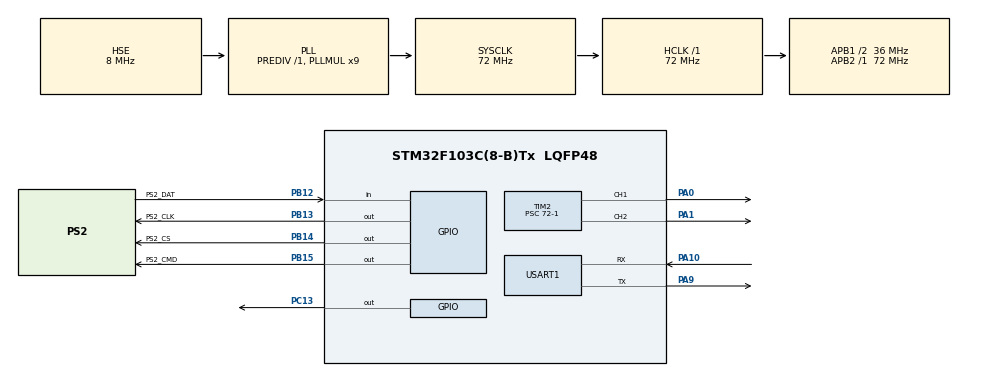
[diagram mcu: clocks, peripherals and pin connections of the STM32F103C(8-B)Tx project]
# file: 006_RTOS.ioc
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Mcu.Family=STM32F1
Mcu.Name=STM32F103C(8-B)Tx
Mcu.Package=LQFP48
NVIC.PriorityGroup=NVIC_PRIORITYGROUP_4
NVIC.USART1_IRQn=true\:0\:0\:false\:false\:true\:true\:true\:true
PA0-WKUP.Signal=S_TIM2_CH1_ETR
PA1.Signal=S_TIM2_CH2
PA10.Mode=Asynchronous
PA10.Signal=USART1_RX
PA13.Mode=Serial_Wire
PA13.Signal=SYS_JTMS-SWDIO
PA14.Mode=Serial_Wire
PA14.Signal=SYS_JTCK-SWCLK
PA9.Mode=Asynchronous
PA9.Signal=USART1_TX
PB12.GPIO_Label=PS2_DAT
PB12.Signal=GPIO_Input
PB13.GPIO_Label=PS2_CLK
PB13.Signal=GPIO_Output
PB14.GPIO_Label=PS2_CS
PB14.Signal=GPIO_Output
PB15.GPIO_Label=PS2_CMD
PB15.Signal=GPIO_Output
PC13-TAMPER-RTC.Signal=GPIO_Output
PD0-OSC_IN.Mode=HSE-External-Oscillator
PD0-OSC_IN.Signal=RCC_OSC_IN
PD1-OSC_OUT.Mode=HSE-External-Oscillator
PD1-OSC_OUT.Signal=RCC_OSC_OUT
ProjectManager.HeapSize=0x200
ProjectManager.StackSize=0x400
ProjectManager.TargetToolchain=MDK-ARM V5.32
RCC.AHBFreq_Value=72000000
RCC.APB1CLKDivider=RCC_HCLK_DIV2
RCC.APB1Freq_Value=36000000
RCC.APB1TimFreq_Value=72000000
RCC.APB2Freq_Value=72000000
RCC.APB2TimFreq_Value=72000000
RCC.HCLKFreq_Value=72000000
RCC.PLLMUL=RCC_PLL_MUL9
RCC.PLLSourceVirtual=RCC_PLLSOURCE_HSE
RCC.SYSCLKFreq_VALUE=72000000
RCC.SYSCLKSource=RCC_SYSCLKSOURCE_PLLCLK
RCC.USBFreq_Value=72000000
SH.S_TIM2_CH1_ETR.0=TIM2_CH1,PWM Generation1 CH1
SH.S_TIM2_CH2.0=TIM2_CH2,PWM Generation2 CH2
TIM2.Channel-PWM\ Generation1\ CH1=TIM_CHANNEL_1
TIM2.Channel-PWM\ Generation2\ CH2=TIM_CHANNEL_2
TIM2.Period=20000-1
TIM2.Prescaler=72-1
USART1.VirtualMode=VM_ASYNC
VP_TIM2_VS_ClockSourceINT.Mode=Internal
board=custom

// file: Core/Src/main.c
/* USER CODE BEGIN Header */
/**
  ******************************************************************************
  * @file           : main.c
  * @brief          : Main program body
  ******************************************************************************
  * @attention
  *
  * Copyright (c) 2023 STMicroelectronics.
  * All rights reserved.
  *
  * This software is licensed under terms that can be found in the LICENSE file
  * in the root directory of this software component.
  * If no LICENSE file comes with this software, it is provided AS-IS.
  *
  ******************************************************************************
  */
/* USER CODE END Header */
#include "main.h"
#include "tim.h"
#include "usart.h"
#include "gpio.h"

/* USER CODE BEGIN Includes */
#include <string.h>
#include <stdio.h>
#include <PS2.h>
/* USER CODE END Includes */

void SystemClock_Config(void);

/* USER CODE BEGIN 0 */
int fputc(int ch, FILE *f)

{
  HAL_UART_Transmit(&huart1, (uint8_t *)&ch, 1, 0xffff);
  return ch;
}

/* USER CODE END 0 */

int main(void)
{

  /* MCU Configuration--------------------------------------------------------*/

  /* Reset of all peripherals, Initializes the Flash interface and the Systick. */
  HAL_Init();

  /* Configure the system clock */
  SystemClock_Config();

  /* Initialize all configured peripherals */
  MX_GPIO_Init();
  MX_TIM2_Init();
  MX_USART1_UART_Init();
  /* USER CODE BEGIN 2 */
	PS2_Init();
	RC_ctrl_t ctrl;

	HAL_TIM_PWM_Start(&htim2, TIM_CHANNEL_1);
	HAL_TIM_PWM_Start(&htim2, TIM_CHANNEL_2);

	uint8_t cha[10]="nihao!\r\n";
	uint16_t count=0;
	TIM2->CCR1=1500;
	TIM2->CCR2=1500;
  /* USER CODE END 2 */

  /* Infinite loop */
  /* USER CODE BEGIN WHILE */
  while (1)
  {
		count++;
		uint32_t num=0;
		num=(ctrl.RC.PS2_RY*2+50);

		if(count%50==0)
		{
			printf("nihao  ");
			printf("%d\r\n",num);
		}

		if(count%(num/10)==0)
			HAL_GPIO_TogglePin(GPIOC,GPIO_PIN_13);

		if(count%5==0)
			PS2_Receive(&ctrl);

		TIM2->CCR1=1500+num*2;
		//HAL_UART_Transmit(&huart1, cha, 9, 0xff);
		HAL_Delay(10);
    /* USER CODE END WHILE */

  }
}

void SystemClock_Config(void)
{
  RCC_OscInitTypeDef RCC_OscInitStruct = {0};
  RCC_ClkInitTypeDef RCC_ClkInitStruct = {0};

  /** Initializes the RCC Oscillators according to the specified parameters
  * in the RCC_OscInitTypeDef structure.
  */
  RCC_OscInitStruct.OscillatorType = RCC_OSCILLATORTYPE_HSE;
  RCC_OscInitStruct.HSEState = RCC_HSE_ON;
  RCC_OscInitStruct.HSEPredivValue = RCC_HSE_PREDIV_DIV1;
  RCC_OscInitStruct.HSIState = RCC_HSI_ON;
  RCC_OscInitStruct.PLL.PLLState = RCC_PLL_ON;
  RCC_OscInitStruct.PLL.PLLSource = RCC_PLLSOURCE_HSE;
  RCC_OscInitStruct.PLL.PLLMUL = RCC_PLL_MUL9;
  if (HAL_RCC_OscConfig(&RCC_OscInitStruct) != HAL_OK)
  {
    Error_Handler();
  }

  /** Initializes the CPU, AHB and APB buses clocks
  */
  RCC_ClkInitStruct.ClockType = RCC_CLOCKTYPE_HCLK|RCC_CLOCKTYPE_SYSCLK
                              |RCC_CLOCKTYPE_PCLK1|RCC_CLOCKTYPE_PCLK2;
  RCC_ClkInitStruct.SYSCLKSource = RCC_SYSCLKSOURCE_PLLCLK;
  RCC_ClkInitStruct.AHBCLKDivider = RCC_SYSCLK_DIV1;
  RCC_ClkInitStruct.APB1CLKDivider = RCC_HCLK_DIV2;
  RCC_ClkInitStruct.APB2CLKDivider = RCC_HCLK_DIV1;

  if (HAL_RCC_ClockConfig(&RCC_ClkInitStruct, FLASH_LATENCY_2) != HAL_OK)
  {
    Error_Handler();
  }
}

void Error_Handler(void)
{
  __disable_irq();
  while (1)
  {
  }
}
